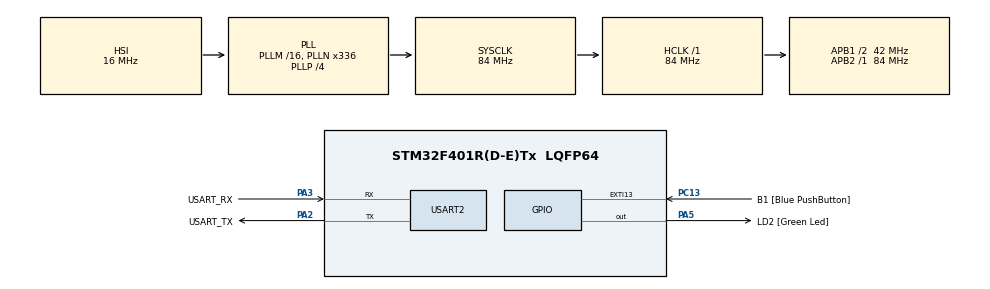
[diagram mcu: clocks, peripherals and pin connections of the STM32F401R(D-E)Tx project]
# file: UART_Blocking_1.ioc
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Mcu.Family=STM32F4
Mcu.Name=STM32F401R(D-E)Tx
Mcu.Package=LQFP64
NVIC.PriorityGroup=NVIC_PRIORITYGROUP_0
PA13.GPIO_Label=TMS
PA13.Mode=Serial_Wire
PA13.Signal=SYS_JTMS-SWDIO
PA14.GPIO_Label=TCK
PA14.Mode=Serial_Wire
PA14.Signal=SYS_JTCK-SWCLK
PA2.GPIO_Label=USART_TX
PA2.GPIO_Mode=GPIO_MODE_AF_PP
PA2.GPIO_PuPd=GPIO_NOPULL
PA2.GPIO_Speed=GPIO_SPEED_FREQ_LOW
PA2.Mode=Asynchronous
PA2.Signal=USART2_TX
PA3.GPIO_Label=USART_RX
PA3.GPIO_Mode=GPIO_MODE_AF_PP
PA3.GPIO_PuPd=GPIO_NOPULL
PA3.GPIO_Speed=GPIO_SPEED_FREQ_LOW
PA3.Mode=Asynchronous
PA3.Signal=USART2_RX
PA5.GPIO_Label=LD2 [Green Led]
PA5.GPIO_Mode=GPIO_MODE_OUTPUT_PP
PA5.GPIO_PuPd=GPIO_NOPULL
PA5.GPIO_Speed=GPIO_SPEED_FREQ_LOW
PA5.Signal=GPIO_Output
PB3.GPIO_Label=SWO
PB3.Signal=SYS_JTDO-SWO
PC13-ANTI_TAMP.GPIO_Label=B1 [Blue PushButton]
PC13-ANTI_TAMP.GPIO_ModeDefaultEXTI=GPIO_MODE_IT_FALLING
PC13-ANTI_TAMP.GPIO_PuPd=GPIO_NOPULL
PC13-ANTI_TAMP.Signal=GPXTI13
PC14-OSC32_IN.Mode=LSE-External-Oscillator
PC14-OSC32_IN.Signal=RCC_OSC32_IN
PC15-OSC32_OUT.Mode=LSE-External-Oscillator
PC15-OSC32_OUT.Signal=RCC_OSC32_OUT
PH0\ -\ OSC_IN.Mode=HSE-External-Clock-Source
PH0\ -\ OSC_IN.Signal=RCC_OSC_IN
PH1\ -\ OSC_OUT.Mode=HSE-External-Clock-Source
PH1\ -\ OSC_OUT.Signal=RCC_OSC_OUT
ProjectManager.HeapSize=0x200
ProjectManager.StackSize=0x400
ProjectManager.TargetToolchain=SW4STM32
RCC.48MHZClocksFreq_Value=48000000
RCC.AHBFreq_Value=84000000
RCC.APB1CLKDivider=RCC_HCLK_DIV2
RCC.APB1Freq_Value=42000000
RCC.APB1TimFreq_Value=84000000
RCC.APB2Freq_Value=84000000
RCC.APB2TimFreq_Value=84000000
RCC.CortexFreq_Value=84000000
RCC.HCLKFreq_Value=84000000
RCC.HSE_VALUE=8000000
RCC.HSI_VALUE=16000000
RCC.PLLN=336
RCC.PLLP=RCC_PLLP_DIV4
RCC.PLLQ=7
RCC.SYSCLKFreq_VALUE=84000000
RCC.SYSCLKSource=RCC_SYSCLKSOURCE_PLLCLK
RCC.VCOOutputFreq_Value=336000000
USART2.VirtualMode=VM_ASYNC
board=NUCLEO-F401RE

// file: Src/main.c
/**
 ******************************************************************************
 * @file           : main.c
 * @brief          : Main program body
 ******************************************************************************
 ** This notice applies to any and all portions of this file
 * that are not between comment pairs USER CODE BEGIN and
 * USER CODE END. Other portions of this file, whether
 * inserted by the user or by software development tools
 * are owned by their respective copyright owners.
 *
 * COPYRIGHT(c) 2018 STMicroelectronics
 *
 * Redistribution and use in source and binary forms, with or without modification,
 * are permitted provided that the following conditions are met:
 *   1. Redistributions of source code must retain the above copyright notice,
 *      this list of conditions and the following disclaimer.
 *   2. Redistributions in binary form must reproduce the above copyright notice,
 *      this list of conditions and the following disclaimer in the documentation
 *      and/or other materials provided with the distribution.
 *   3. Neither the name of STMicroelectronics nor the names of its contributors
 *      may be used to endorse or promote products derived from this software
 *      without specific prior written permission.
 *
 * THIS SOFTWARE IS PROVIDED BY THE COPYRIGHT HOLDERS AND CONTRIBUTORS "AS IS"
 * AND ANY EXPRESS OR IMPLIED WARRANTIES, INCLUDING, BUT NOT LIMITED TO, THE
 * IMPLIED WARRANTIES OF MERCHANTABILITY AND FITNESS FOR A PARTICULAR PURPOSE ARE
 * DISCLAIMED. IN NO EVENT SHALL THE COPYRIGHT HOLDER OR CONTRIBUTORS BE LIABLE
 * FOR ANY DIRECT, INDIRECT, INCIDENTAL, SPECIAL, EXEMPLARY, OR CONSEQUENTIAL
 * DAMAGES (INCLUDING, BUT NOT LIMITED TO, PROCUREMENT OF SUBSTITUTE GOODS OR
 * SERVICES; LOSS OF USE, DATA, OR PROFITS; OR BUSINESS INTERRUPTION) HOWEVER
 * CAUSED AND ON ANY THEORY OF LIABILITY, WHETHER IN CONTRACT, STRICT LIABILITY,
 * OR TORT (INCLUDING NEGLIGENCE OR OTHERWISE) ARISING IN ANY WAY OUT OF THE USE
 * OF THIS SOFTWARE, EVEN IF ADVISED OF THE POSSIBILITY OF SUCH DAMAGE.
 *
 ******************************************************************************
 */
#include "main.h"
#include "stm32f4xx_hal.h"

/* USER CODE BEGIN Includes */
#include <stdlib.h>
#include <string.h>

/* USER CODE END Includes */

UART_HandleTypeDef huart2;

/* USER CODE BEGIN PV */
/* Private variables ---------------------------------------------------------*/
#define SHORT_TIMEOUT 10
#define MID_TIMEOUT 100
#define LONG_TIMEOUT 1000
/* USER CODE END PV */

void SystemClock_Config(void);
static void MX_GPIO_Init(void);
static void MX_USART2_UART_Init(void);

/* USER CODE BEGIN PFP */
/* Private function prototypes -----------------------------------------------*/

/* USER CODE END PFP */

int main(void) {

	/* MCU Configuration----------------------------------------------------------*/

	/* Reset of all peripherals, Initializes the Flash interface and the Systick. */
	HAL_Init();

	/* Configure the system clock */
	SystemClock_Config();

	/* Initialize all configured peripherals */
	MX_GPIO_Init();
	MX_USART2_UART_Init();
	/* USER CODE BEGIN 2 */

	char *res[3] = { "Replay1\r\n", "Replay2\r\n", "Replay3\r\n" };

	char rec_buff;

	char *msg = "Write a number [1-3]\r\n";
	HAL_UART_Transmit(&huart2, (uint8_t *) msg, strlen(msg), MID_TIMEOUT);

	/* USER CODE END 2 */

	/* Infinite loop */
	while (1) {

		/* USER CODE BEGIN 3 */

		if (HAL_UART_Receive(&huart2, (uint8_t *) &rec_buff, sizeof(char),
		LONG_TIMEOUT) == HAL_OK) {
			//Char arrived
			uint8_t rec = atoi(&rec_buff);
			rec_buff = '\0';
			switch (rec) {
			case 1: {
				HAL_UART_Transmit(&huart2, (uint8_t *) res[0], strlen(res[0]),
				MID_TIMEOUT);
				break;
			}
			case 2: {
				HAL_UART_Transmit(&huart2, (uint8_t *) res[1], strlen(res[1]),
				MID_TIMEOUT);
				break;
			}
			case 3: {
				HAL_UART_Transmit(&huart2, (uint8_t *) res[2], strlen(res[2]),
				MID_TIMEOUT);
				break;
			}
			default: {
				char *err_msg = "You must enter a number between 1 and 3\r\n";
				HAL_UART_Transmit(&huart2, (uint8_t *) err_msg, strlen(err_msg),
				MID_TIMEOUT);
				break;
			}
			}
			HAL_UART_Transmit(&huart2, (uint8_t *) msg, strlen(msg),
					MID_TIMEOUT);
		}

	}
	/* USER CODE END 3 */

}

void SystemClock_Config(void) {

	RCC_OscInitTypeDef RCC_OscInitStruct;
	RCC_ClkInitTypeDef RCC_ClkInitStruct;

	/**Configure the main internal regulator output voltage
	 */
	__HAL_RCC_PWR_CLK_ENABLE()
	;

	__HAL_PWR_VOLTAGESCALING_CONFIG(PWR_REGULATOR_VOLTAGE_SCALE2);

	/**Initializes the CPU, AHB and APB busses clocks
	 */
	RCC_OscInitStruct.OscillatorType = RCC_OSCILLATORTYPE_HSI;
	RCC_OscInitStruct.HSIState = RCC_HSI_ON;
	RCC_OscInitStruct.HSICalibrationValue = 16;
	RCC_OscInitStruct.PLL.PLLState = RCC_PLL_ON;
	RCC_OscInitStruct.PLL.PLLSource = RCC_PLLSOURCE_HSI;
	RCC_OscInitStruct.PLL.PLLM = 16;
	RCC_OscInitStruct.PLL.PLLN = 336;
	RCC_OscInitStruct.PLL.PLLP = RCC_PLLP_DIV4;
	RCC_OscInitStruct.PLL.PLLQ = 7;
	if (HAL_RCC_OscConfig(&RCC_OscInitStruct) != HAL_OK) {
		_Error_Handler(__FILE__, __LINE__);
	}

	/**Initializes the CPU, AHB and APB busses clocks
	 */
	RCC_ClkInitStruct.ClockType = RCC_CLOCKTYPE_HCLK | RCC_CLOCKTYPE_SYSCLK
			| RCC_CLOCKTYPE_PCLK1 | RCC_CLOCKTYPE_PCLK2;
	RCC_ClkInitStruct.SYSCLKSource = RCC_SYSCLKSOURCE_PLLCLK;
	RCC_ClkInitStruct.AHBCLKDivider = RCC_SYSCLK_DIV1;
	RCC_ClkInitStruct.APB1CLKDivider = RCC_HCLK_DIV2;
	RCC_ClkInitStruct.APB2CLKDivider = RCC_HCLK_DIV1;

	if (HAL_RCC_ClockConfig(&RCC_ClkInitStruct, FLASH_LATENCY_2) != HAL_OK) {
		_Error_Handler(__FILE__, __LINE__);
	}

	/**Configure the Systick interrupt time
	 */
	HAL_SYSTICK_Config(HAL_RCC_GetHCLKFreq() / 1000);

	/**Configure the Systick
	 */
	HAL_SYSTICK_CLKSourceConfig(SYSTICK_CLKSOURCE_HCLK);

	/* SysTick_IRQn interrupt configuration */
	HAL_NVIC_SetPriority(SysTick_IRQn, 0, 0);
}

/* USART2 init function */
static void MX_USART2_UART_Init(void) {

	huart2.Instance = USART2;
	huart2.Init.BaudRate = 115200;
	huart2.Init.WordLength = UART_WORDLENGTH_8B;
	huart2.Init.StopBits = UART_STOPBITS_1;
	huart2.Init.Parity = UART_PARITY_NONE;
	huart2.Init.Mode = UART_MODE_TX_RX;
	huart2.Init.HwFlowCtl = UART_HWCONTROL_NONE;
	huart2.Init.OverSampling = UART_OVERSAMPLING_16;
	if (HAL_UART_Init(&huart2) != HAL_OK) {
		_Error_Handler(__FILE__, __LINE__);
	}

}

/** Configure pins as
 * Analog
 * Input
 * Output
 * EVENT_OUT
 * EXTI
 */
static void MX_GPIO_Init(void) {

	GPIO_InitTypeDef GPIO_InitStruct;

	/* GPIO Ports Clock Enable */
	__HAL_RCC_GPIOC_CLK_ENABLE()
	;
	__HAL_RCC_GPIOH_CLK_ENABLE()
	;
	__HAL_RCC_GPIOA_CLK_ENABLE()
	;
	__HAL_RCC_GPIOB_CLK_ENABLE()
	;

	/*Configure GPIO pin Output Level */
	HAL_GPIO_WritePin(LD2_GPIO_Port, LD2_Pin, GPIO_PIN_RESET);

	/*Configure GPIO pin : B1_Pin */
	GPIO_InitStruct.Pin = B1_Pin;
	GPIO_InitStruct.Mode = GPIO_MODE_IT_FALLING;
	GPIO_InitStruct.Pull = GPIO_NOPULL;
	HAL_GPIO_Init(B1_GPIO_Port, &GPIO_InitStruct);

	/*Configure GPIO pin : LD2_Pin */
	GPIO_InitStruct.Pin = LD2_Pin;
	GPIO_InitStruct.Mode = GPIO_MODE_OUTPUT_PP;
	GPIO_InitStruct.Pull = GPIO_NOPULL;
	GPIO_InitStruct.Speed = GPIO_SPEED_FREQ_LOW;
	HAL_GPIO_Init(LD2_GPIO_Port, &GPIO_InitStruct);

}

void _Error_Handler(char *file, int line) {
	while (1) {
	}
}

/************************ (C) COPYRIGHT STMicroelectronics *****END OF FILE****/
